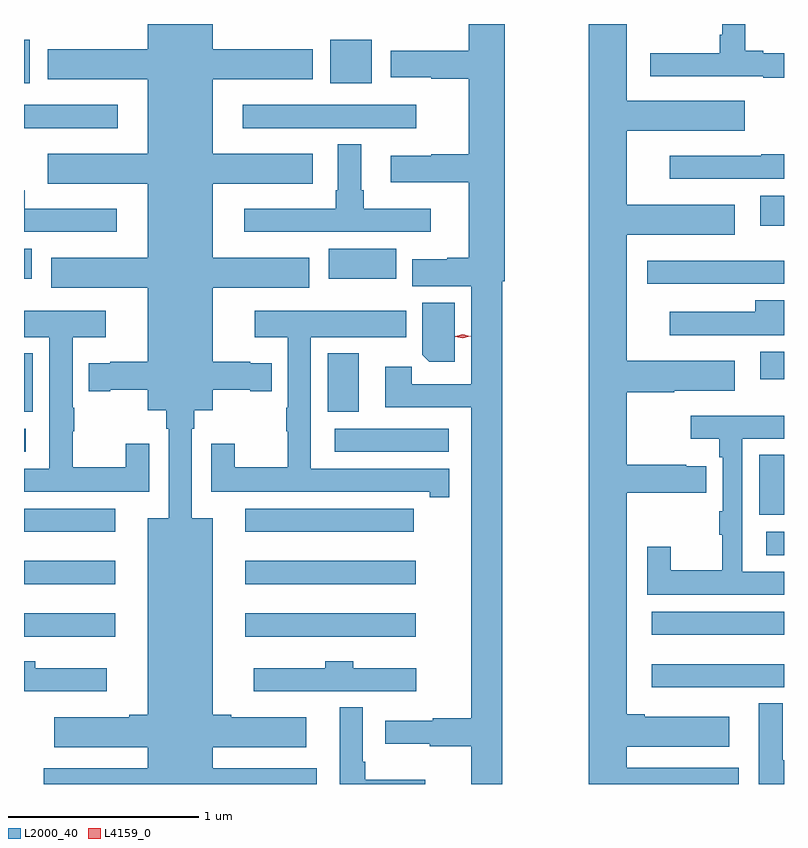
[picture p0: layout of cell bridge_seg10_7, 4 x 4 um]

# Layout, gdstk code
import gdstk
lib = gdstk.Library(unit=1e-6, precision=1e-09)
def R(c, l, rs):  # rectangles x0, y0, x1, y1
    for r in rs: c.add(gdstk.rectangle(r[:2], r[2:], *l))
def A(c, l, x, y, w, h, nx, ny, dx, dy):  # array of equal rectangles
    R(c, l, [(x+i*dx, y+j*dy, x+i*dx+w, y+j*dy+h) for i in range(nx) for j in range(ny)])
def P(c, l, *ps):  # polygons
    for p in ps: c.add(gdstk.Polygon(p, *l))
L2000_40 = (2000, 40)
L4159_0 = (4159, 0)

bridge_seg10_7 = lib.new_cell('bridge_seg10_7')
A(bridge_seg10_7, L2000_40, 1061.862, 1275.164, 0.481, 0.122, 1, 3, 0, 0.276)
R(bridge_seg10_7, L2000_40, [(1065.165,1274.897,1065.862,1275.019), (1063.026,1275.164,1063.924,1275.286), (1065.165,1275.173,1065.862,1275.295), (1063.026,1275.44,1063.924,1275.562), (1065.768,1275.593,1065.862,1275.715), (1063.026,1275.716,1063.912,1275.838), (1065.731,1275.804,1065.862,1276.12), (1061.862,1276.136,1061.872,1276.258), (1063.497,1276.136,1064.098,1276.258), (1061.862,1276.347,1061.908,1276.654), (1063.46,1276.347,1063.624,1276.654), (1065.738,1276.517,1065.862,1276.663), (1065.141,1277.021,1065.862,1277.143), (1061.862,1277.048,1061.902,1277.206), (1063.467,1277.048,1063.821,1277.206), (1065.738,1277.327,1065.862,1277.485), (1061.862,1277.84,1062.355,1277.962), (1063.014,1277.84,1063.927,1277.962), (1061.862,1278.077,1061.893,1278.304), (1063.475,1278.077,1063.693,1278.304)])
P(bridge_seg10_7, L2000_40, [(1065.625,1274.473),(1065.034,1274.473),(1065.034,1274.585),(1065.574,1274.585),(1065.574,1274.743),(1065.13,1274.743),(1065.13,1274.756),(1065.034,1274.756),(1065.034,1275.92),(1065.454,1275.92),(1065.454,1276.06),(1065.347,1276.06),(1065.347,1276.068),(1065.034,1276.068),(1065.034,1276.45),(1065.284,1276.45),(1065.284,1276.457),(1065.604,1276.457),(1065.604,1276.615),(1065.034,1276.615),(1065.034,1277.279),(1065.604,1277.279),(1065.604,1277.437),(1065.034,1277.437),(1065.034,1277.825),(1065.655,1277.825),(1065.655,1277.983),(1065.034,1277.983),(1065.034,1278.388),(1064.834,1278.388),(1064.834,1274.388),(1065.625,1274.388)],
  [(1063.402,1274.47),(1062.856,1274.47),(1062.856,1274.582),(1063.348,1274.582),(1063.348,1274.74),(1062.952,1274.74),(1062.952,1274.753),(1062.856,1274.753),(1062.856,1275.787),(1062.745,1275.787),(1062.745,1276.259),(1062.758,1276.259),(1062.758,1276.355),(1062.856,1276.355),(1062.856,1276.463),(1063.052,1276.463),(1063.052,1276.456),(1063.165,1276.456),(1063.165,1276.603),(1063.052,1276.603),(1063.052,1276.611),(1062.856,1276.611),(1062.856,1277),(1063.363,1277),(1063.363,1277.158),(1062.856,1277.158),(1062.856,1277.546),(1063.381,1277.546),(1063.381,1277.704),(1062.856,1277.704),(1062.856,1278.098),(1063.381,1278.098),(1063.381,1278.256),(1062.856,1278.256),(1062.856,1278.388),(1062.512,1278.388),(1062.512,1278.256),(1061.988,1278.256),(1061.988,1278.098),(1062.512,1278.098),(1062.512,1277.704),(1061.988,1277.704),(1061.988,1277.546),(1062.512,1277.546),(1062.512,1277.158),(1062.006,1277.158),(1062.006,1277),(1062.512,1277),(1062.512,1276.611),(1062.316,1276.611),(1062.316,1276.603),(1062.204,1276.603),(1062.204,1276.456),(1062.316,1276.456),(1062.316,1276.463),(1062.512,1276.463),(1062.512,1276.355),(1062.611,1276.355),(1062.611,1276.259),(1062.623,1276.259),(1062.623,1275.787),(1062.512,1275.787),(1062.512,1274.753),(1062.416,1274.753),(1062.416,1274.74),(1062.021,1274.74),(1062.021,1274.582),(1062.512,1274.582),(1062.512,1274.47),(1061.967,1274.47),(1061.967,1274.388),(1063.402,1274.388)],
  [(1064.38,1277.034),(1064.392,1277.034),(1064.392,1278.388),(1064.204,1278.388),(1064.204,1278.247),(1063.791,1278.247),(1063.791,1278.107),(1064.006,1278.107),(1064.006,1278.1),(1064.204,1278.1),(1064.204,1277.703),(1064.006,1277.703),(1064.006,1277.695),(1063.791,1277.695),(1063.791,1277.555),(1064.204,1277.555),(1064.204,1277.157),(1064.089,1277.157),(1064.089,1277.149),(1063.906,1277.149),(1063.906,1277.009),(1064.216,1277.009),(1064.216,1276.492),(1063.902,1276.492),(1063.902,1276.584),(1063.763,1276.584),(1063.763,1276.37),(1064.216,1276.37),(1064.216,1274.735),(1064.014,1274.735),(1064.014,1274.722),(1063.764,1274.722),(1063.764,1274.6),(1063.998,1274.6),(1063.998,1274.588),(1064.216,1274.588),(1064.216,1274.388),(1064.38,1274.388)],
  [(1065.862,1278.235),(1065.754,1278.235),(1065.754,1278.248),(1065.658,1278.248),(1065.658,1278.388),(1065.536,1278.388),(1065.536,1278.331),(1065.524,1278.331),(1065.524,1278.235),(1065.159,1278.235),(1065.159,1278.113),(1065.754,1278.113),(1065.754,1278.106),(1065.862,1278.106)],
  [(1064.002,1277.416),(1063.649,1277.416),(1063.649,1277.512),(1063.636,1277.512),(1063.636,1277.755),(1063.514,1277.755),(1063.514,1277.512),(1063.502,1277.512),(1063.502,1277.416),(1063.02,1277.416),(1063.02,1277.294),(1064.002,1277.294)],
  [(1065.862,1277.703),(1065.742,1277.703),(1065.742,1277.695),(1065.261,1277.695),(1065.261,1277.573),(1065.862,1277.573)],
  [(1062.349,1277.416),(1061.867,1277.416),(1061.867,1277.512),(1061.862,1277.512),(1061.862,1277.294),(1062.349,1277.294)],
  [(1065.862,1276.933),(1065.71,1276.933),(1065.71,1276.873),(1065.261,1276.873),(1065.261,1276.751),(1065.862,1276.751)],
  [(1064.128,1276.921),(1063.958,1276.921),(1063.958,1276.648),(1063.996,1276.611),(1064.128,1276.611)],
  [(1064.101,1276.048),(1063.372,1276.048),(1063.372,1276.739),(1063.873,1276.739),(1063.873,1276.879),(1063.077,1276.879),(1063.077,1276.739),(1063.25,1276.739),(1063.25,1276.367),(1063.243,1276.367),(1063.243,1276.244),(1063.25,1276.244),(1063.25,1276.056),(1062.97,1276.056),(1062.97,1276.18),(1062.848,1276.18),(1062.848,1275.926),(1063.998,1275.926),(1063.998,1275.896),(1064.101,1275.896)],
  [(1062.52,1276.18),(1062.398,1276.18),(1062.398,1276.056),(1062.118,1276.056),(1062.118,1276.244),(1062.126,1276.244),(1062.126,1276.367),(1062.118,1276.367),(1062.118,1276.739),(1062.292,1276.739),(1062.292,1276.879),(1061.862,1276.879),(1061.862,1276.739),(1061.996,1276.739),(1061.996,1276.048),(1061.862,1276.048),(1061.862,1275.926),(1062.52,1275.926)],
  [(1065.862,1275.505),(1065.643,1275.505),(1065.643,1276.205),(1065.862,1276.205),(1065.862,1276.327),(1065.372,1276.327),(1065.372,1276.205),(1065.522,1276.205),(1065.522,1276.109),(1065.539,1276.109),(1065.539,1275.824),(1065.522,1275.824),(1065.522,1275.701),(1065.537,1275.701),(1065.537,1275.513),(1065.265,1275.513),(1065.265,1275.637),(1065.143,1275.637),(1065.143,1275.383),(1065.862,1275.383)],
  [(1063.927,1274.998),(1063.595,1274.998),(1063.595,1275.034),(1063.448,1275.034),(1063.448,1274.998),(1063.071,1274.998),(1063.071,1274.876),(1063.927,1274.876)],
  [(1062.298,1274.998),(1061.921,1274.998),(1061.921,1275.034),(1061.862,1275.034),(1061.862,1274.876),(1062.298,1274.876)],
  [(1065.862,1274.512),(1065.856,1274.512),(1065.856,1274.812),(1065.728,1274.812),(1065.728,1274.388),(1065.862,1274.388)],
  [(1063.975,1274.41),(1063.658,1274.41),(1063.658,1274.506),(1063.645,1274.506),(1063.645,1274.791),(1063.523,1274.791),(1063.523,1274.388),(1063.975,1274.388)])
P(bridge_seg10_7, L4159_0, [(1064.171,1276.734),(1064.131,1276.743),(1064.131,1276.744),(1064.131,1276.744),(1064.171,1276.754),(1064.211,1276.744),(1064.212,1276.744),(1064.211,1276.744)])

lib.write_gds('bridge_seg10_7.gds')
